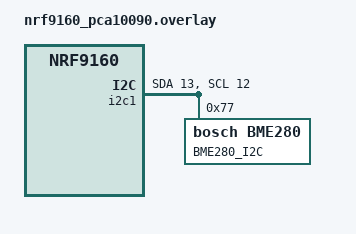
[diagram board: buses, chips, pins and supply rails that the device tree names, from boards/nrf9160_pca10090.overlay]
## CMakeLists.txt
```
# SPDX-License-Identifier: Apache-2.0

cmake_minimum_required(VERSION 3.13.1)

include($ENV{ZEPHYR_BASE}/cmake/app/boilerplate.cmake NO_POLICY_SCOPE)
project(training_generic)

target_sources(app PRIVATE src/main.c)
```

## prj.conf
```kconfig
# This is the main application Kconfig fragment.
CONFIG_BOOT_BANNER=n
```

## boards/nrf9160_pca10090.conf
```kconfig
# Enable the sensor driver subsystem, and BME280 sensor support.
CONFIG_SENSOR=y
CONFIG_BME280=y

# Turn on I2C driver support.
CONFIG_I2C=y

# Enable I2C1. This line is needed for NCS v1.2. It will be determined
# entirely by enabling spi1 in the devicetree in a future release.
CONFIG_I2C_1=y
```

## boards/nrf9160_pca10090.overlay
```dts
&i2c1 {
	compatible = "nordic,nrf-twim";
	status = "okay";
	sda-pin = <13>;
	scl-pin = <12>;

	/*
	 * The "@77" part here is the slave address on the I2C bus.
	 */
	bme280_i2c: bme280@77 {
		label = "BME280_I2C";
		compatible = "bosch,bme280";
		reg = <0x77>;	/* the reg must match the @77 */
	};
};

&{/aliases} {
	/* Aliases make it more convenient to access devicetree data. */
	my-sensor = &bme280_i2c;
};
```

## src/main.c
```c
/*
 * Copyright (c) 2020 Nordic Semiconductor ASA
 *
 * SPDX-License-Identifier: Apache-2.0
 */

#include <zephyr.h>
#include <drivers/sensor.h>

/*
 * The zephyr convention is that a devicetree node's "label" property,
 * as a string, is how a device is looked up at runtime.
 *
 * This type of lookup is convenient for development but increases
 * flash footprint and wastes some cycles during lookup, so other ways
 * to go from devicetree to device are being developed. It's how things
 * work today, though.
 */
#define MY_SENSOR_NAME DT_ALIAS_MY_SENSOR_LABEL

void main(void)
{
	struct device *sensor_device;
	struct sensor_value temperature;
	int err;
	unsigned int i = 0;

	printk("NCS application main() started.\n");

	sensor_device = device_get_binding(MY_SENSOR_NAME);
	if (sensor_device == NULL) {
		printk("No device named %s\n", MY_SENSOR_NAME);
		return;
	}

	printk("Found sensor %s\n", MY_SENSOR_NAME);

	while (1) {
		k_sleep(K_MSEC(1000));

		err = sensor_sample_fetch(sensor_device);
		if (err < 0) {
			printk("Can't read sensor: %d\n", err);
			return;
		}

		err = sensor_channel_get(sensor_device,
					 SENSOR_CHAN_AMBIENT_TEMP,
					 &temperature);
		if (err < 0) {
			printk("Can't get sensor value: %d\n", err);
			return;
		}

		printk("Temperature reading %d: %d.%d °C\n",
		       i, temperature.val1, temperature.val2);

		i++;
	}
}
```
